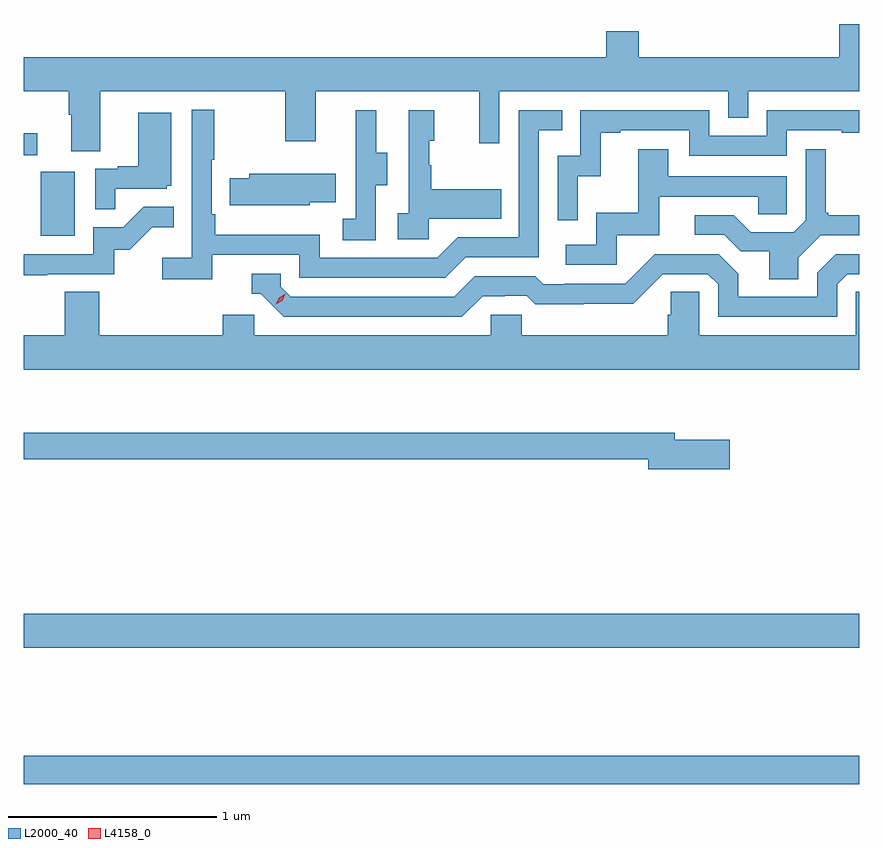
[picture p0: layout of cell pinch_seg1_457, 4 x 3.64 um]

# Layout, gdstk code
import gdstk
lib = gdstk.Library(unit=1e-6, precision=1e-09)
def R(c, l, rs):  # rectangles x0, y0, x1, y1
    for r in rs: c.add(gdstk.rectangle(r[:2], r[2:], *l))
def P(c, l, *ps):  # polygons
    for p in ps: c.add(gdstk.Polygon(p, *l))
L2000_40 = (2000, 40)
L4158_0 = (4158, 0)

pinch_seg1_457 = lib.new_cell('pinch_seg1_457')
R(pinch_seg1_457, L2000_40, [(1008.174,507.124,1012.174,507.26), (1008.174,507.776,1012.174,507.94), (1008.254,509.748,1008.418,510.055), (1008.174,510.135,1008.238,510.241)])
P(pinch_seg1_457, L2000_40, [(1008.174,510.44),(1008.389,510.44),(1008.389,510.328),(1008.401,510.328),(1008.401,510.154),(1008.541,510.154),(1008.541,510.44),(1009.426,510.44),(1009.426,510.201),(1009.573,510.201),(1009.573,510.44),(1010.354,510.44),(1010.354,510.192),(1010.451,510.192),(1010.451,510.44),(1011.546,510.44),(1011.546,510.313),(1011.642,510.313),(1011.642,510.44),(1012.174,510.44),(1012.174,510.763),(1012.079,510.763),(1012.079,510.604),(1011.119,510.604),(1011.119,510.728),(1010.963,510.728),(1010.963,510.604),(1008.174,510.604)],
  [(1009.076,509.658),(1009.494,509.658),(1009.494,509.547),(1010.191,509.547),(1010.29,509.646),(1010.64,509.646),(1010.64,510.255),(1010.753,510.255),(1010.753,510.351),(1010.544,510.351),(1010.544,509.742),(1010.253,509.742),(1010.154,509.643),(1009.59,509.643),(1009.59,509.755),(1009.091,509.755),(1009.091,509.851),(1009.074,509.851),(1009.074,510.112),(1009.087,510.112),(1009.087,510.352),(1008.978,510.352),(1008.978,509.644),(1008.837,509.644),(1008.837,509.542),(1009.076,509.542)],
  [(1010.826,510.035),(1010.936,510.035),(1010.936,510.243),(1011.031,510.243),(1011.031,510.255),(1011.36,510.255),(1011.36,510.132),(1011.828,510.132),(1011.828,510.255),(1012.091,510.255),(1012.091,510.243),(1012.174,510.243),(1012.174,510.351),(1011.732,510.351),(1011.732,510.228),(1011.456,510.228),(1011.456,510.351),(1010.838,510.351),(1010.838,510.132),(1010.73,510.132),(1010.73,509.823),(1010.826,509.823)],
  [(1009.86,509.992),(1009.915,509.992),(1009.915,510.147),(1009.861,510.147),(1009.861,510.349),(1009.763,510.349),(1009.763,510.135),(1009.764,510.135),(1009.764,509.831),(1009.701,509.831),(1009.701,509.728),(1009.86,509.728)],
  [(1010.112,509.831),(1010.459,509.831),(1010.459,509.971),(1010.125,509.971),(1010.125,510.086),(1010.115,510.086),(1010.115,510.204),(1010.14,510.204),(1010.14,510.349),(1010.016,510.349),(1010.016,509.858),(1009.965,509.858),(1009.965,509.733),(1010.112,509.733)],
  [(1008.611,509.973),(1008.858,509.973),(1008.858,509.988),(1008.88,509.988),(1008.88,510.337),(1008.722,510.337),(1008.722,510.082),(1008.623,510.082),(1008.623,510.069),(1008.516,510.069),(1008.516,509.875),(1008.611,509.875)],
  [(1011.012,509.751),(1011.217,509.751),(1011.217,509.937),(1011.691,509.937),(1011.691,509.853),(1011.828,509.853),(1011.828,510.033),(1011.259,510.033),(1011.259,510.163),(1011.115,510.163),(1011.115,509.86),(1010.916,509.86),(1010.916,509.706),(1010.769,509.706),(1010.769,509.61),(1011.012,509.61)],
  [(1011.883,509.644),(1011.99,509.751),(1012.174,509.751),(1012.174,509.848),(1012.027,509.848),(1012.027,509.86),(1012.015,509.86),(1012.015,510.163),(1011.918,510.163),(1011.918,509.823),(1011.861,509.766),(1011.655,509.766),(1011.574,509.847),(1011.387,509.847),(1011.387,509.754),(1011.528,509.754),(1011.608,509.674),(1011.743,509.674),(1011.743,509.542),(1011.883,509.542)],
  [(1009.542,509.909),(1009.667,509.909),(1009.667,510.046),(1009.253,510.046),(1009.253,510.024),(1009.159,510.024),(1009.159,509.895),(1009.27,509.895),(1009.27,509.894),(1009.542,509.894)],
  [(1008.287,509.565),(1008.606,509.565),(1008.606,509.682),(1008.682,509.682),(1008.789,509.789),(1008.893,509.789),(1008.893,509.888),(1008.749,509.888),(1008.651,509.79),(1008.507,509.79),(1008.507,509.661),(1008.174,509.661),(1008.174,509.56),(1008.287,509.56)],
  [(1010.371,509.46),(1010.478,509.46),(1010.478,509.463),(1010.581,509.463),(1010.623,509.421),(1010.856,509.421),(1010.856,509.423),(1011.092,509.423),(1011.234,509.565),(1011.45,509.565),(1011.498,509.517),(1011.498,509.361),(1012.068,509.361),(1012.068,509.517),(1012.116,509.565),(1012.174,509.565),(1012.174,509.661),(1012.062,509.661),(1011.972,509.571),(1011.972,509.457),(1011.595,509.457),(1011.595,509.567),(1011.501,509.661),(1011.195,509.661),(1011.054,509.52),(1010.761,509.52),(1010.761,509.517),(1010.662,509.517),(1010.623,509.556),(1010.334,509.556),(1010.235,509.457),(1009.452,509.457),(1009.404,509.505),(1009.404,509.568),(1009.265,509.568),(1009.265,509.472),(1009.308,509.472),(1009.419,509.361),(1010.272,509.361)],
  [(1012.174,509.48),(1012.158,509.48),(1012.158,509.272),(1011.408,509.272),(1011.408,509.48),(1011.271,509.48),(1011.271,509.37),(1011.257,509.37),(1011.257,509.272),(1010.559,509.272),(1010.559,509.37),(1010.409,509.37),(1010.409,509.272),(1009.278,509.272),(1009.278,509.37),(1009.127,509.37),(1009.127,509.272),(1008.536,509.272),(1008.536,509.48),(1008.371,509.48),(1008.371,509.272),(1008.174,509.272),(1008.174,509.108),(1012.174,509.108)],
  [(1011.553,508.773),(1011.292,508.773),(1011.292,508.807),(1008.174,508.807),(1008.174,508.678),(1011.164,508.678),(1011.164,508.631),(1011.553,508.631)])
P(pinch_seg1_457, L4158_0, [(1009.38,509.42),(1009.38,509.42),(1009.396,509.453),(1009.426,509.472),(1009.427,509.472),(1009.427,509.472),(1009.411,509.439),(1009.38,509.42)])

lib.write_gds('pinch_seg1_457.gds')
